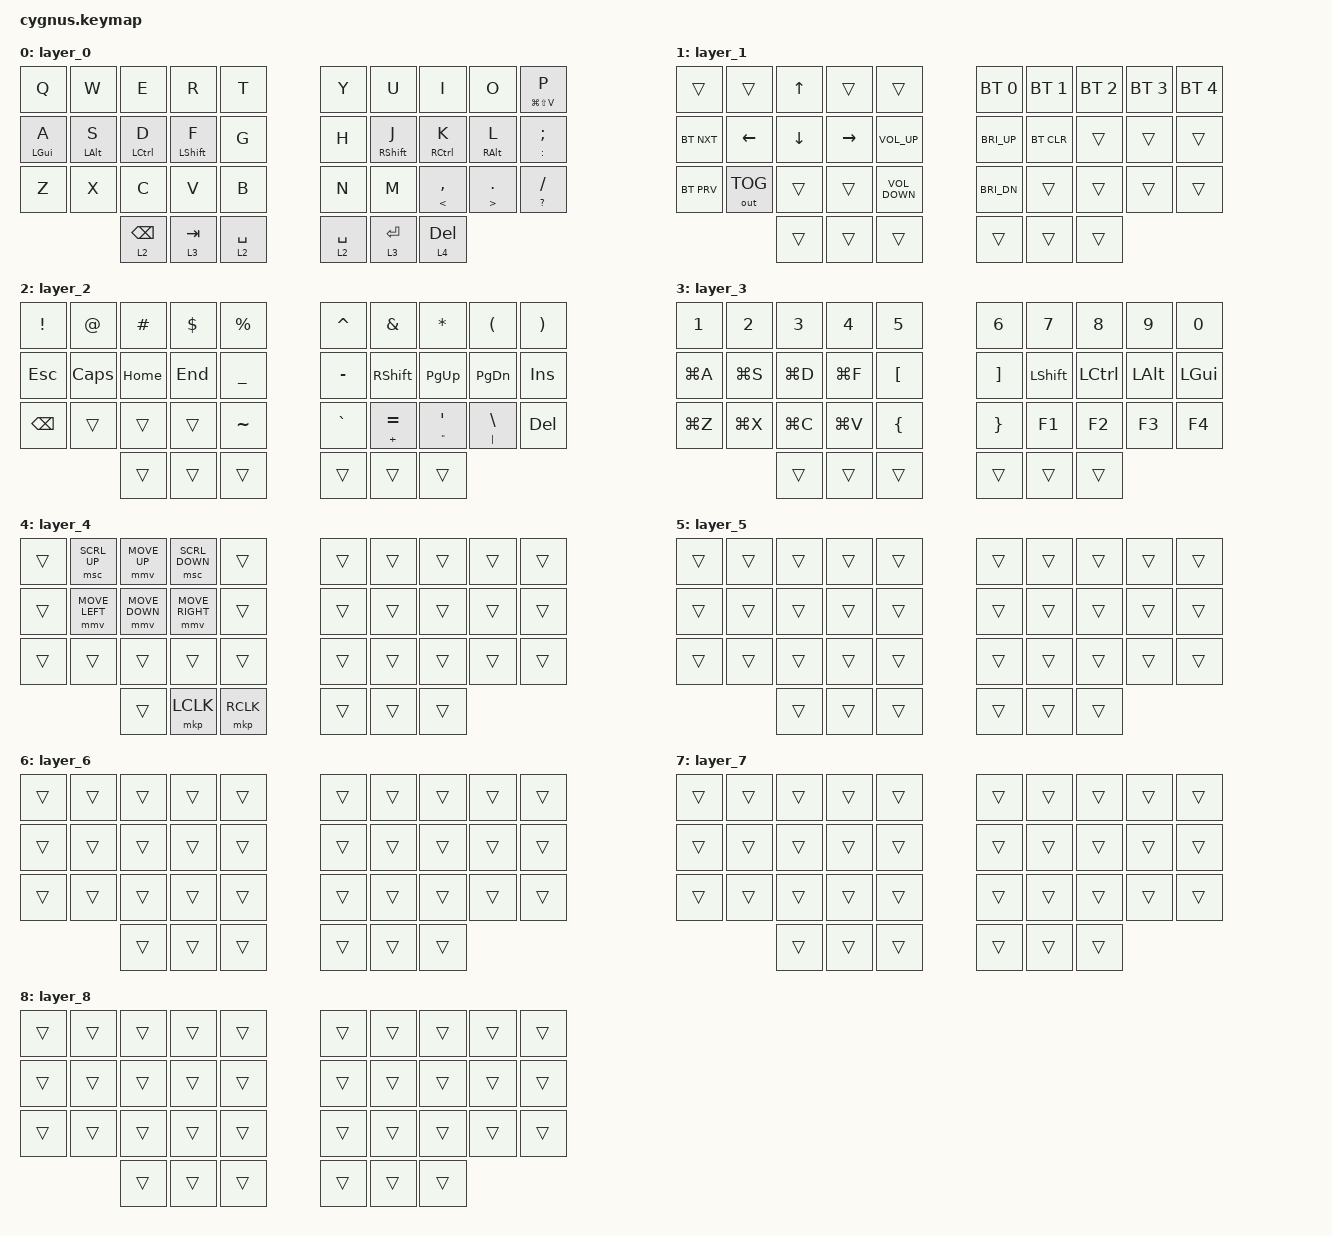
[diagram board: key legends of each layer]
/*
 * Copyright (c) 2020 The ZMK Contributors
 *
 * SPDX-License-Identifier: MIT
 */

#include <behaviors/mouse_keys.dtsi>
#include <behaviors.dtsi>
#include <dt-bindings/zmk/bt.h>
#include <dt-bindings/zmk/keys.h>
#include <dt-bindings/zmk/mouse.h>
#include <dt-bindings/zmk/outputs.h>

&mt {
    tapping-term-ms = <200>;
    flavor = "tap-preferred";
};

&sk {
    release-after-ms = <2000>;
    quick-release;
};

/ {
    combos {
        compatible = "zmk,combos";

        left_bkt {
            bindings = <&kp LBKT>;
            key-positions = <3 2>;
            timeout-ms = <50>;
        };

        right_bkt {
            bindings = <&kp RBKT>;
            key-positions = <6 7>;
            timeout-ms = <50>;
        };

        left_par {
            bindings = <&kp LEFT_PARENTHESIS>;
            key-positions = <12 13>;
            timeout-ms = <50>;
        };

        right_par {
            bindings = <&kp RIGHT_PARENTHESIS>;
            key-positions = <16 17>;
            timeout-ms = <50>;
        };

        left_brace {
            bindings = <&kp LEFT_BRACE>;
            key-positions = <23 22>;
            timeout-ms = <50>;
        };

        right_brace {
            bindings = <&kp RIGHT_BRACE>;
            key-positions = <26 27>;
            timeout-ms = <50>;
        };

        bac {
            bindings = <&kp BACKSLASH>;
            key-positions = <4 5>;
        };

        pipe {
            bindings = <&kp PIPE>;
            key-positions = <14 15>;
        };
    };

    behaviors {
        hm: homerow_mods {
            compatible = "zmk,behavior-hold-tap";
            label = "HOMEROW_MODS";
            #binding-cells = <2>;
            tapping-term-ms = <200>;
            quick_tap_ms = <0>;
            flavor = "tap-preferred";
            bindings = <&kp>, <&kp>;

            quick-tap-ms = <180>;
            global-quick-tap;
        };

        ltq: ltq {
            compatible = "zmk,behavior-hold-tap";
            label = "LTQ";
            #binding-cells = <2>;
            tapping-term-ms = <200>;
            quick_tap_ms = <0>;
            flavor = "hold-preferred";
            bindings = <&mo>, <&kp>;

            quick-tap-ms = <180>;
            global-quick-tap;
        };

        as: as {
            compatible = "zmk,behavior-hold-tap";
            label = "AUTO_SHIFT";
            bindings = <&kp>, <&kp>;

            #binding-cells = <2>;
            tapping-term-ms = <135>;
            quick-tap-ms = <0>;
            flavor = "tap-preferred";
        };
    };

    keymap {
        compatible = "zmk,keymap";

        layer_0 {
            bindings = <
&kp Q                             &kp W                      &kp E                     &kp R             &kp T         &kp Y                     &kp U              &kp I                &kp O                    &hm LG(LS(V)) P
&hm LEFT_GUI A                    &hm LEFT_ALT S             &hm LCTRL D               &hm LEFT_SHIFT F  &kp G         &kp H                     &hm RIGHT_SHIFT J  &hm RCTRL K          &hm RIGHT_ALT L          &as COLON SEMICOLON
&kp Z                             &kp X                      &kp C                     &kp V             &kp B         &kp N                     &kp M              &as LESS_THAN COMMA  &as GREATER_THAN PERIOD  &as QUESTION SLASH
                &ltq 2 BACKSPACE                  &lt 3 TAB               &lt 2 SPACE                    &ltq 2 SPACE  &ltq 3 ENTER  &ltq 4 DEL
            >;
        };

        layer_1 {
            bindings = <
&trans              &trans                &kp UP            &trans     &trans             &bt BT_SEL 0          &bt BT_SEL 1  &bt BT_SEL 2  &bt BT_SEL 3  &bt BT_SEL 4
&bt BT_NXT          &kp LEFT              &kp DOWN          &kp RIGHT  &kp C_VOLUME_UP    &kp C_BRI_UP          &bt BT_CLR    &trans        &trans        &trans
&bt BT_PRV          &out OUT_TOG          &trans            &trans     &kp C_VOLUME_DOWN  &kp C_BRI_DN          &trans        &trans        &trans        &trans
            &trans                &trans            &trans             &trans             &trans        &trans
            >;
        };

        layer_2 {
            bindings = <
&kp EXCLAMATION          &kp AT_SIGN           &kp HASH          &kp DOLLAR  &kp PERCENT  &kp CARET          &kp AMPERSAND    &kp STAR                        &kp LEFT_PARENTHESIS  &kp RIGHT_PARENTHESIS
&kp ESCAPE               &kp CAPSLOCK          &kp HOME          &kp END     &kp UNDER    &kp MINUS          &kp RIGHT_SHIFT  &kp PAGE_UP                     &kp PAGE_DOWN         &kp INSERT
&kp BACKSPACE            &trans                &trans            &trans      &kp TILDE    &kp GRAVE          &as PLUS EQUAL   &as DOUBLE_QUOTES SINGLE_QUOTE  &as PIPE BACKSLASH    &kp DEL
                 &trans                &trans            &trans              &trans       &trans     &trans
            >;
        };

        layer_3 {
            bindings = <
&kp NUMBER_1          &kp NUMBER_2          &kp NUMBER_3          &kp NUMBER_4  &kp NUMBER_5      &kp NUMBER_6               &kp NUMBER_7    &kp NUMBER_8      &kp NUMBER_9  &kp NUMBER_0
&kp LG(A)             &kp LG(S)             &kp LG(D)             &kp LG(F)     &kp LEFT_BRACKET  &kp RIGHT_BRACKET          &kp LEFT_SHIFT  &kp LEFT_CONTROL  &kp LEFT_ALT  &kp LEFT_GUI
&kp LG(Z)             &kp LG(X)             &kp LG(C)             &kp LG(V)     &kp LEFT_BRACE    &kp RIGHT_BRACE            &kp F1          &kp F2            &kp F3        &kp F4
              &trans                &trans                &trans                &trans            &trans             &trans
            >;
        };

        layer_4 {
            bindings = <
&trans          &msc SCRL_UP               &mmv MOVE_UP               &msc SCRL_DOWN   &trans  &trans          &trans  &trans  &trans  &trans
&trans          &mmv MOVE_LEFT             &mmv MOVE_DOWN             &mmv MOVE_RIGHT  &trans  &trans          &trans  &trans  &trans  &trans
&trans          &trans                     &trans                     &trans           &trans  &trans          &trans  &trans  &trans  &trans
        &trans                  &mkp LCLK                  &mkp RCLK                   &trans  &trans  &trans
            >;
        };

        layer_5 {
            bindings = <
&trans          &trans          &trans          &trans  &trans  &trans          &trans  &trans  &trans  &trans
&trans          &trans          &trans          &trans  &trans  &trans          &trans  &trans  &trans  &trans
&trans          &trans          &trans          &trans  &trans  &trans          &trans  &trans  &trans  &trans
        &trans          &trans          &trans          &trans  &trans  &trans
            >;
        };

        layer_6 {
            bindings = <
&trans          &trans          &trans          &trans  &trans  &trans          &trans  &trans  &trans  &trans
&trans          &trans          &trans          &trans  &trans  &trans          &trans  &trans  &trans  &trans
&trans          &trans          &trans          &trans  &trans  &trans          &trans  &trans  &trans  &trans
        &trans          &trans          &trans          &trans  &trans  &trans
            >;
        };

        layer_7 {
            bindings = <
&trans          &trans          &trans          &trans  &trans  &trans          &trans  &trans  &trans  &trans
&trans          &trans          &trans          &trans  &trans  &trans          &trans  &trans  &trans  &trans
&trans          &trans          &trans          &trans  &trans  &trans          &trans  &trans  &trans  &trans
        &trans          &trans          &trans          &trans  &trans  &trans
            >;
        };

        layer_8 {
            bindings = <
&trans          &trans          &trans          &trans  &trans  &trans          &trans  &trans  &trans  &trans
&trans          &trans          &trans          &trans  &trans  &trans          &trans  &trans  &trans  &trans
&trans          &trans          &trans          &trans  &trans  &trans          &trans  &trans  &trans  &trans
        &trans          &trans          &trans          &trans  &trans  &trans
            >;
        };
    };
};
